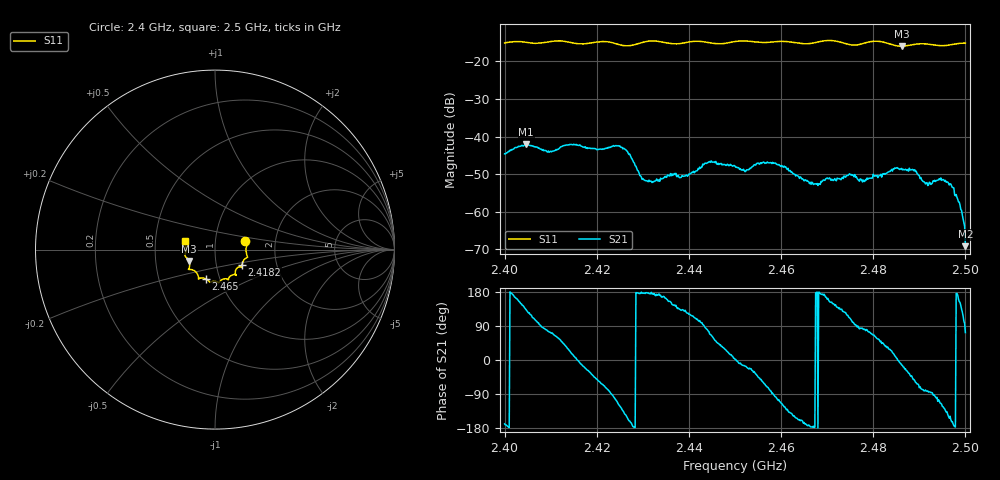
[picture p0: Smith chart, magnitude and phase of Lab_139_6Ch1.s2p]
# Hz S RI R 50
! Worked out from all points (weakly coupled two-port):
!   601 points, 2.4 GHz to 2.5 GHz, reference 50 ohm
!   highest |S21| = -42.03 dB at 2.4047 GHz (marker M1); lowest = -69.1 dB at 2.5 GHz (marker M2)
!   lowest |S11| = -16.0 dB at 2.4862 GHz (marker M3), VSWR 1.38, Z = 37.1 - j4.82 ohm
!   |S11| at or under -10 dB: start of sweep to end of sweep
!   S12 and S22 are empty: the file has one direction only
!   S11 on the Smith chart (normalised r, x): 2.4 GHz: 1.40, +0.13; 2.4182 GHz: 1.33, -0.23; 2.465 GHz: 0.86, -0.29; 2.5 GHz: 0.71, +0.07
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2.4e9  0.1689 0.0458  -0.00577 -0.00117  0 0  0 0
2.404667e9  0.1769 0.0218  -0.00535 0.00583  0 0  0 0
2.409667e9  0.1781 -0.0328  0.00172 0.00594  0 0  0 0
2.416667e9  0.1552 -0.0686  0.00728 -0.00145  0 0  0 0
2.418167e9  0.15 -0.0854  0.00623 -0.00327  0 0  0 0
2.425e9  0.1341 -0.0964  -0.0039 -0.00644  0 0  0 0
2.430167e9  0.1146 -0.1379  -0.00267 0.000175  0 0  0 0
2.433333e9  0.1169 -0.1413  -0.00253 0.000362  0 0  0 0
2.439333e9  0.0768 -0.1593  -0.00188 0.00241  0 0  0 0
2.4445e9  0.0653 -0.1633  0.00168 0.00433  0 0  0 0
2.45e9  0.0252 -0.1809  0.00404 0.00014  0 0  0 0
2.458333e9  -0.0201 -0.1796  -8.03e-05 -0.0044  0 0  0 0
2.465e9  -0.0528 -0.162  -0.00249 -0.000674  0 0  0 0
2.466667e9  -0.0713 -0.1576  -0.00248 -0.000155  0 0  0 0
2.483333e9  -0.1422 -0.0958  0.00294 0.00167  0 0  0 0
2.486167e9  -0.1446 -0.0634  0.00366 -0.000849  0 0  0 0
2.488833e9  -0.1616 -0.0416  0.00219 -0.00274  0 0  0 0
2.4915e9  -0.1667 -0.0309  0.000337 -0.00238  0 0  0 0
2.494833e9  -0.1609 0.00183  -0.00117 -0.00234  0 0  0 0
2.497e9  -0.1639 0.0274  -0.00211 -0.000659  0 0  0 0
2.498833e9  -0.168 0.0409  -0.00108 0.00058  0 0  0 0
2.5e9  -0.167 0.0471  0.000108 0.000333  0 0  0 0
